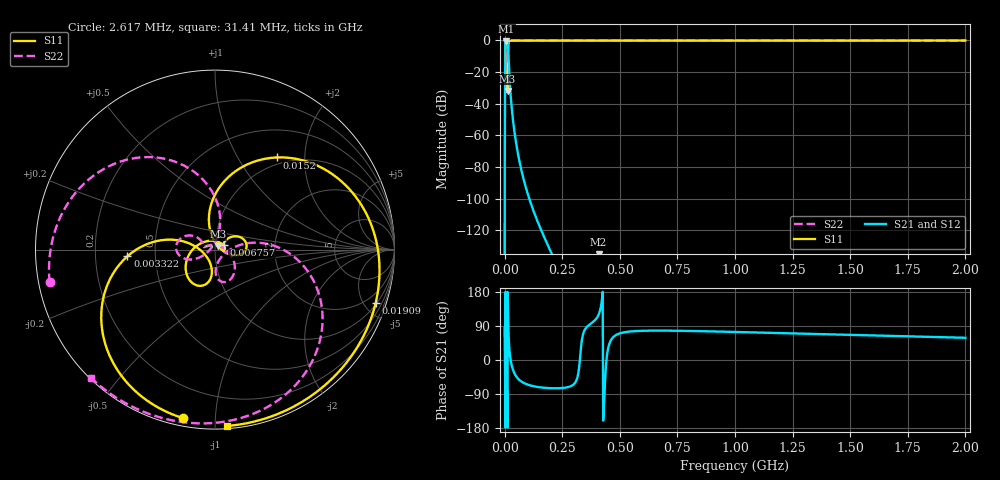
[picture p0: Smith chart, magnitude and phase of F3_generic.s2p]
! Created with skrf 2.2.0 (http://scikit-rf.org).
# MHz S RI R 50.0
! Port[1] = P1
! Port[2] = P2
!freq ReS11 ImS11 ReS21 ImS21 ReS12 ImS12 ReS22 ImS22
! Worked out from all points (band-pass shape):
!   2001 points, 50 kHz to 2 GHz, reference 50 ohm
!   highest |S21| = -0.49 dB at 7.315 MHz (marker M1); lowest = -198.5 dB at 408.1 MHz (marker M2)
!   |S21| within 3 dB of the highest: 3.25 MHz to 14.99 MHz (11.74 MHz wide, 129 % of centre)
!   lowest |S11| = -31.9 dB at 13.1 MHz (marker M3), VSWR 1.05, Z = 51.6 + j2 ohm
!   |S11| at or under -10 dB: 3.442 MHz to 14.2 MHz (10.76 MHz wide, 122 % of centre)
!   |S22| runs from -33.0 to 0.0 dB; largest |S21 - S12| = 1.3e-15
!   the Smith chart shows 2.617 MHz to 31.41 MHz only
!   S11 on the Smith chart (normalised r, x): 2.617 MHz: 0.04, -0.83; 3.322 MHz: 0.34, -0.03; 6.757 MHz: 1.10, +0.05; 15.2 MHz: 0.89, +1.48; 19.09 MHz: 1.09, -5.95; 31.41 MHz: 0.02, -1.07
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0.05  0.9996 -0.0258  2.06e-11 2.17e-10  2.06e-11 2.17e-10  0.9983 -0.0575
0.2934364  0.9884 -0.1509  4.46e-07 1.45e-06  4.46e-07 1.45e-06  0.9435 -0.3302
0.6777613  0.9376 -0.346  5.89e-05 8.28e-05  5.89e-05 8.28e-05  0.716 -0.6959
1.712999  0.5669 -0.8168  0.0123 0.000926  0.0123 0.000926  -0.3046 -0.9392
2.617215  -0.1791 -0.9388  0.0995 -0.1215  0.0995 -0.1215  -0.9218 -0.1822
2.987894  -0.5788 -0.6089  0.0189 -0.3975  0.0189 -0.3975  -0.7385 0.3587
3.321894  -0.4885 -0.0377  -0.5252 -0.5191  -0.5252 -0.5191  -0.1421 0.4509
3.732574  -0.0375 -0.0538  -0.8875 0.1874  -0.8875 0.1874  -0.0343 -0.00673
4.638213  -0.1565 -0.1419  -0.14 0.9057  -0.14 0.9057  -0.1976 0.0567
6.756531  0.0474 0.0239  0.9382 0.1156  0.9382 0.1156  -0.0597 0.0134
7.315419  0.0556 0.00341  0.9274 -0.1836  0.9274 -0.1836  -0.0462 0.02
8.219812  0.0443 0.0108  0.7409 -0.5856  0.7409 -0.5856  0.00994 0.0236
10  0.1139 0.0744  0.0495 -0.9277  0.0495 -0.9277  0.1105 -0.0953
13.10245  0.0165 0.0194  -0.8928 -0.1344  -0.8928 -0.1344  0.0439 -0.0322
15.19782  0.3445 0.5136  -0.2719 0.561  -0.2719 0.561  0.5831 -0.2615
19.08647  0.8948 -0.299  0.0967 0.0897  0.0967 0.0897  0.0362 -0.9611
31.40671  0.0664 -0.9828  0.00653 -0.00182  0.00653 -0.00182  -0.6884 -0.7173
58.68728  -0.6434 -0.7534  0.000161 -0.000188  0.000161 -0.000188  -0.9175 -0.3905
72.92665  -0.7682 -0.6263  4.34e-05 -6.62e-05  4.34e-05 -6.62e-05  -0.9474 -0.3121
342.5997  -0.9917 0.0184  1.66e-10 5.16e-10  1.66e-10 5.16e-10  -0.9976 -0.0257
408.0572  -0.9891 0.0753  -5.87e-11 1.03e-10  -5.87e-11 1.03e-10  -0.9979 -0.00649
2000  -0.6102 0.7841  3.8e-08 6.24e-08  3.8e-08 6.24e-08  -0.9698 0.2355
